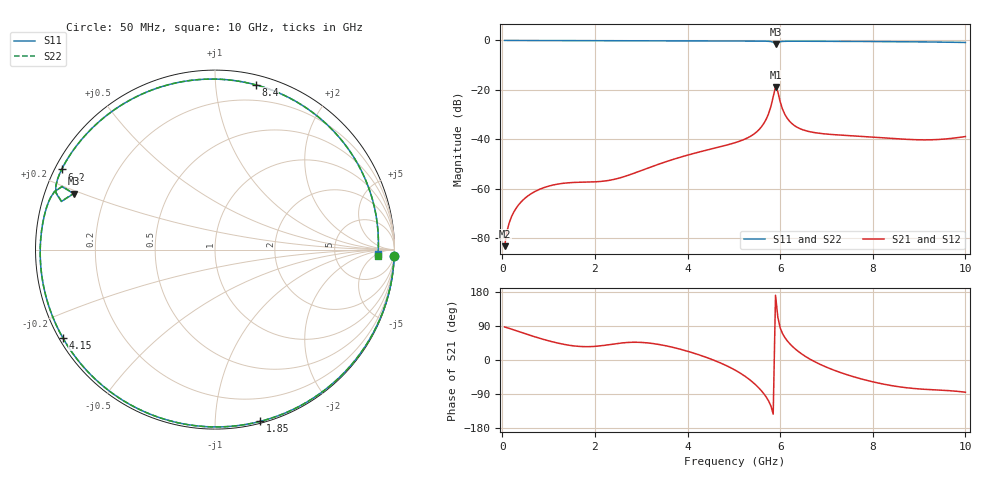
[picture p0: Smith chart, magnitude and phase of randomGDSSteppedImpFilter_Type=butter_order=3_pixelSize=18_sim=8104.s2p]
! freq	dB(S11)	phase(S11)	dB(S12)	phase(S12)
!  dB(S21)	phase(S21)	dB(S22)	phase(S22)
!S-par simulation data
#  GHz  S  DB  R 50
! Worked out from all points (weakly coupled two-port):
!   200 points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, 50 MHz to 10 GHz, reference 50 ohm
!   highest |S21| = -18.77 dB at 5.9 GHz (marker M1); lowest = -83.1 dB at 50 MHz (marker M2)
!   lowest |S11| = -1.4 dB at 5.9 GHz (marker M3), VSWR 12.05, Z = 4.3 + j9.46 ohm
!   |S11| at or under -10 dB: nowhere
!   |S22| runs from -1.4 to 0.0 dB; largest |S21 - S12| = 0
!   S11 on the Smith chart (normalised r, x): 50 MHz: 1, -52; 1.85 GHz: 0.01, -1.30; 4.15 GHz: 0.01, -0.27; 6.2 GHz: 0.02, +0.25; 8.4 GHz: 0.07, +1.27; 10 GHz: 20, -5
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0.05  -0.01 -2.2  -83.14 87.2  -83.14 87.2  -0.01 -2.2
0.25  -0.01 -10.7  -69.30 79.3  -69.30 79.3  -0.01 -10.7
0.55  -0.03 -23.5  -62.87 67.1  -62.87 67.1  -0.03 -23.5
1.05  -0.05 -44.2  -58.63 49.0  -58.63 49.0  -0.05 -44.2
1.75  -0.09 -71.5  -57.26 35.3  -57.26 35.3  -0.09 -71.5
1.85  -0.09 -75.2  -57.23 35.2  -57.23 35.2  -0.09 -75.3
2.6  -0.12 -101.7  -55.22 45.2  -55.22 45.2  -0.12 -101.8
3.4  -0.14 -127.5  -49.87 40.6  -49.87 40.6  -0.14 -127.5
4.15  -0.17 -150.0  -45.58 17.5  -45.58 17.5  -0.18 -150.0
5.05  -0.22 -176.0  -41.18 -28.2  -41.18 -28.2  -0.22 -176.1
5.6  -0.28 167.6  -34.81 -81.9  -34.81 -81.9  -0.28 167.5
5.75  -0.35 162.3  -29.60 -107.9  -29.60 -107.9  -0.35 162.2
5.9  -1.44 158.4  -18.77 170.9  -18.77 170.9  -1.44 158.3
6.05  -0.39 158.0  -27.70 70.0  -27.70 70.0  -0.39 157.9
6.2  -0.32 152.4  -32.59 44.0  -32.59 44.0  -0.32 152.3
6.7  -0.33 136.4  -37.11 -1.6  -37.11 -1.6  -0.33 136.3
7.6  -0.40 106.4  -38.59 -44.7  -38.59 -44.7  -0.40 106.2
8.35  -0.48 78.2  -39.52 -66.4  -39.52 -66.4  -0.48 77.9
8.4  -0.49 76.2  -39.58 -67.5  -39.58 -67.5  -0.49 75.9
9.15  -0.60 43.2  -40.18 -77.6  -40.18 -77.6  -0.60 42.8
9.6  -0.70 20.7  -39.77 -80.5  -39.77 -80.5  -0.71 20.1
10  -0.83 -1.4  -38.84 -85.1  -38.84 -85.1  -0.84 -2.2
